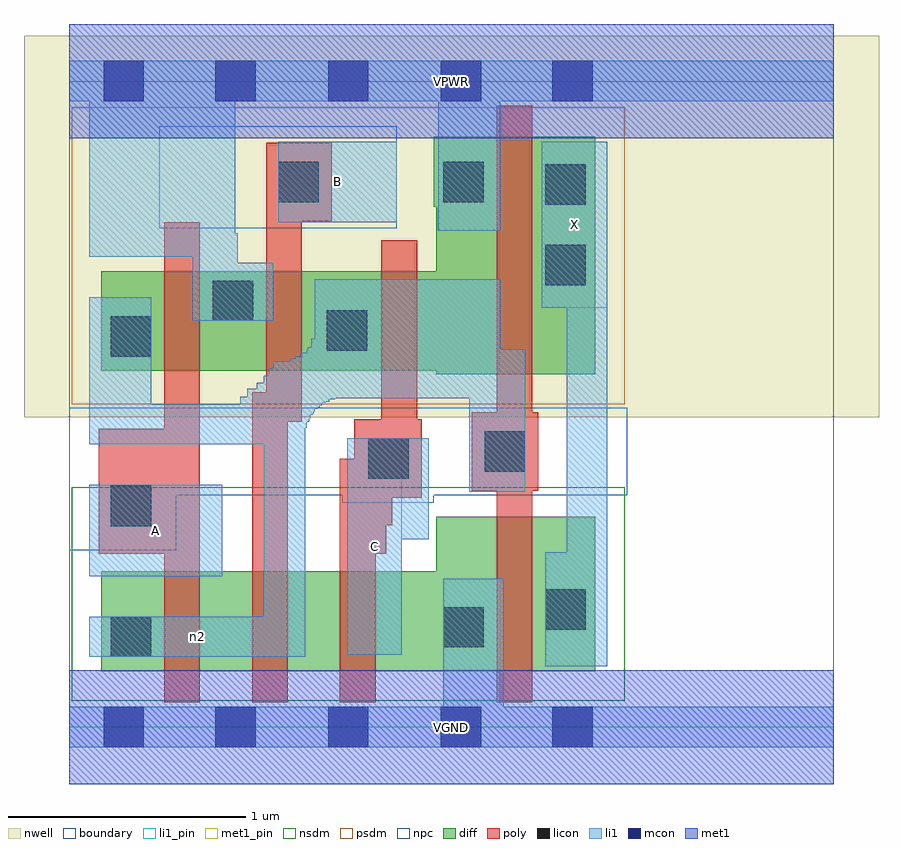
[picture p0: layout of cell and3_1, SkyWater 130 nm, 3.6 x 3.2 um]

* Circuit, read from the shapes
.subckt and3_1 A B C VGND VPWR X n2
XM1 n1 A n2 VSUBS sky130_fd_pr__nfet_01v8 w=0.42 l=0.15
XM2 n3 B n1 VSUBS sky130_fd_pr__nfet_01v8 w=0.42 l=0.15
XM3 VGND C n3 VSUBS sky130_fd_pr__nfet_01v8 w=0.42 l=0.15
XM4 X n2 VGND VSUBS sky130_fd_pr__nfet_01v8 w=0.65 l=0.15
XM5 VPWR A n2 n4 sky130_fd_pr__pfet_01v8 w=0.42 l=0.15
XM6 n2 B VPWR n4 sky130_fd_pr__pfet_01v8 w=0.42 l=0.15
XM7 VPWR C n2 n4 sky130_fd_pr__pfet_01v8 w=0.42 l=0.15
XM8 X n2 VPWR n4 sky130_fd_pr__pfet_01v8 w=1 l=0.15
.ends

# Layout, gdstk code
import gdstk
lib = gdstk.Library(unit=1e-6, precision=1e-09)
def R(c, l, rs):  # rectangles x0, y0, x1, y1
    for r in rs: c.add(gdstk.rectangle(r[:2], r[2:], *l))
def A(c, l, x, y, w, h, nx, ny, dx, dy):  # array of equal rectangles
    R(c, l, [(x+i*dx, y+j*dy, x+i*dx+w, y+j*dy+h) for i in range(nx) for j in range(ny)])
nwell = (64, 20)
diff = (65, 20)
poly = (66, 20)
licon = (66, 44)
li1_pin = (67, 16)
li1 = (67, 20)
mcon = (67, 44)
met1_pin = (68, 16)
met1 = (68, 20)
nsdm = (93, 44)
psdm = (94, 20)
npc = (95, 20)
boundary = (235, 4)

and3_1 = lib.new_cell('and3_1')
R(and3_1, nwell, [(-0.19,1.305,3.41,2.91), (0,1.305,3.22,2.91)])
R(and3_1, diff, [(0.135,0.235,2.215,0.655), (1.545,0.235,2.215,0.885), (1.545,1.485,2.215,2.485), (0.135,1.5,2.215,1.92), (1.535,2.19,2.215,2.485)])
R(and3_1, poly, [(0.4,0.105,0.55,2.125), (0.77,0.105,0.92,1.41), (1.14,0.105,1.29,1.13), (1.8,0.105,1.95,2.615), (0.125,0.73,0.55,1.255), (1.2,0.73,1.335,1.295), (1.2,0.85,1.36,1.295), (1.2,0.965,1.485,1.295), (1.315,0.965,1.465,2.05), (1.695,0.995,1.975,1.325), (0.83,1.285,0.98,2.46), (0.83,2.13,1.105,2.46)])
R(and3_1, licon, [(0.175,0.295,0.345,0.465), (1.575,0.335,1.745,0.505), (2.005,0.41,2.175,0.58), (0.175,0.845,0.345,1.015), (1.26,1.045,1.43,1.215), (1.75,1.075,1.92,1.245), (0.175,1.56,0.345,1.73), (1.085,1.585,1.255,1.755), (0.605,1.71,0.775,1.88), (2.005,1.86,2.175,2.03), (2.005,2.2,2.175,2.37), (0.88,2.21,1.05,2.38), (1.575,2.21,1.745,2.38)])
R(and3_1, li1_pin, [(1.17,0.305,1.4,1.215), (0.085,0.635,0.645,1.02), (1.99,1.765,2.265,2.465), (0.88,2.125,1.38,2.465)])
R(and3_1, li1, [(0,-0.085,3.22,0.085), (1.575,-0.085,1.83,0.625), (2.005,0.255,2.265,0.735), (2.095,0.255,2.265,2.465), (0.085,0.295,0.995,0.465), (0.82,0.295,0.995,1.48), (0.84,0.295,0.995,1.51), (1.17,0.305,1.4,1.215), (0.085,0.635,0.645,1.02), (1.17,0.79,1.515,1.215), (1.685,0.99,1.92,1.59), (0.085,1.19,0.995,1.36), (0.085,1.19,0.345,1.81), (0.75,1.19,0.995,1.425), (0.975,1.26,1,1.575), (0.72,1.285,1.01,1.39), (0.72,1.3,1.015,1.39), (0.72,1.315,1.025,1.39), (0.72,1.32,1.03,1.39), (0.72,1.33,1.035,1.39), (0.72,1.34,1.045,1.39), (0.72,1.345,1.055,1.39), (1,1.355,1.065,1.59), (1,1.365,1.08,1.59), (1,1.37,1.095,1.59), (1,1.38,1.12,1.59), (0.79,1.385,1.92,1.45), (0.86,1.385,1.92,1.54), (0.93,1.385,1.92,1.55), (0.955,1.385,1.92,1.56), (1.005,1.385,1.815,1.6), (1.02,1.385,1.815,1.635), (1.035,1.385,1.815,1.885), (0.52,1.71,0.86,1.955), (0.52,1.71,0.71,2.08), (1.99,1.765,2.265,2.465), (0.085,1.98,0.7,2.635), (1.555,2.09,1.815,2.805), (0.88,2.125,1.38,2.465), (0,2.635,3.22,2.805)])
A(and3_1, mcon, 0.615, -0.085, 0.17, 0.17, 3, 2, 0.475, 2.72)
R(and3_1, mcon, [(0.145,-0.085,0.315,0.085), (2.035,-0.085,2.205,0.085), (0.145,2.635,0.315,2.805), (2.035,2.635,2.205,2.805)])
R(and3_1, met1_pin, [(0,-0.24,3.22,0.24), (0,2.48,3.22,2.96)])
R(and3_1, met1, [(0,-0.24,3.22,0.24), (0,2.48,3.22,2.96)])
R(and3_1, nsdm, [(0.01,0.11,2.34,1.01)])
R(and3_1, psdm, [(0.01,1.36,2.34,2.61)])
R(and3_1, npc, [(0,0.745,0.45,1.345), (1.15,0.945,1.535,1.345), (0,0.975,2.35,1.345), (0.38,2.1,1.38,2.53)])
R(and3_1, boundary, [(0,0,3.22,2.72)])
and3_1.add(gdstk.Label('A', (0.365,0.827), layer=67, texttype=5))
and3_1.add(gdstk.Label('B', (1.13,2.295), layer=67, texttype=5))
and3_1.add(gdstk.Label('C', (1.285,0.76), layer=67, texttype=5))
and3_1.add(gdstk.Label('X', (2.127,2.115), layer=67, texttype=5))
and3_1.add(gdstk.Label('n2', (0.54,0.38), layer=67, texttype=5))
and3_1.add(gdstk.Label('VPWR', (1.61,2.72), layer=68, texttype=5))
and3_1.add(gdstk.Label('VGND', (1.61,0), layer=68, texttype=5))
and3_1.add(gdstk.Label('A', (0.365,0.827), layer=67, texttype=16))
and3_1.add(gdstk.Label('B', (1.13,2.295), layer=67, texttype=16))
and3_1.add(gdstk.Label('C', (1.285,0.76), layer=67, texttype=16))
and3_1.add(gdstk.Label('X', (2.127,2.115), layer=67, texttype=16))
and3_1.add(gdstk.Label('VPWR', (1.61,2.72), layer=68, texttype=16))
and3_1.add(gdstk.Label('VGND', (1.61,0), layer=68, texttype=16))

lib.write_gds('and3_1.gds')
